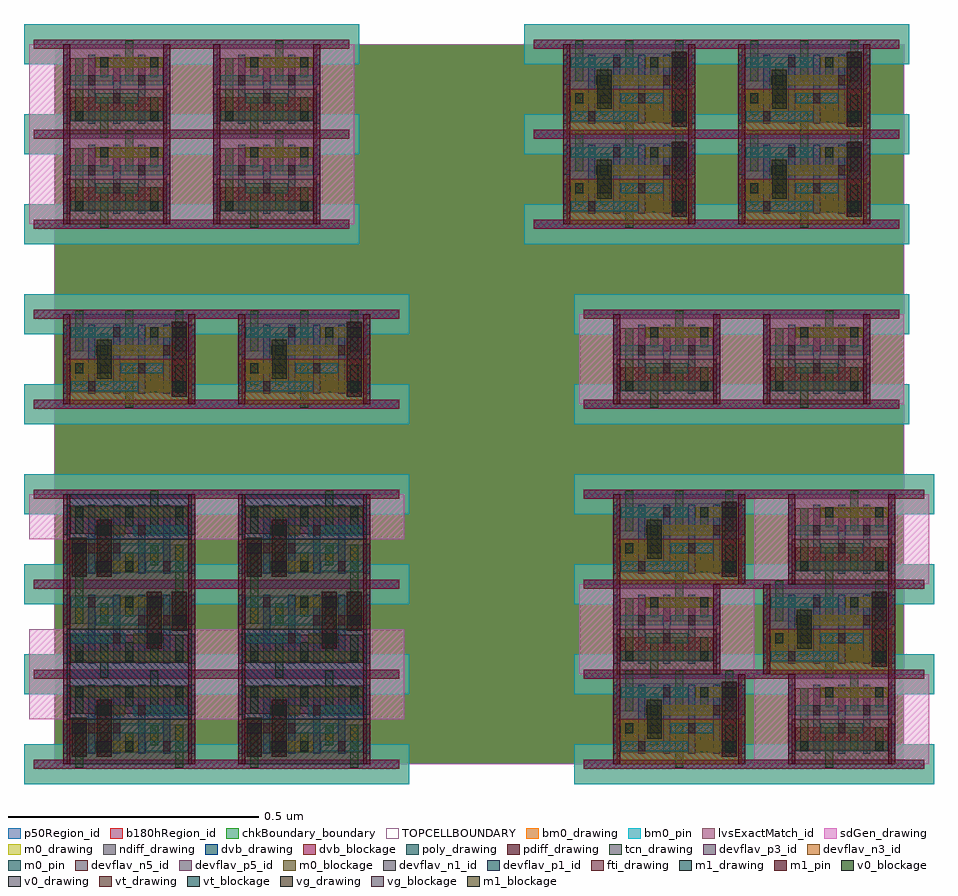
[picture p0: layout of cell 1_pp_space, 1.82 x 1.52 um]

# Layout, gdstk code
from math import pi, radians
import gdstk
lib = gdstk.Library(unit=1e-6, precision=5e-10)
def R(c, l, rs):  # rectangles x0, y0, x1, y1
    for r in rs: c.add(gdstk.rectangle(r[:2], r[2:], *l))
def A(c, l, x, y, w, h, nx, ny, dx, dy):  # array of equal rectangles
    R(c, l, [(x+i*dx, y+j*dy, x+i*dx+w, y+j*dy+h) for i in range(nx) for j in range(ny)])
ndiff_drawing = (1, 0)
poly_drawing = (2, 0)
m1_drawing = (4, 0)
m1_blockage = (4, 1)
m1_pin = (4, 2)
tcn_drawing = (5, 0)
pdiff_drawing = (8, 0)
sdGen_drawing = (11, 0)
vt_drawing = (31, 0)
vt_blockage = (31, 1)
vg_drawing = (32, 0)
vg_blockage = (32, 1)
chkBoundary_boundary = (50, 0)
TOPCELLBOUNDARY = (50, 99)
m0_drawing = (55, 0)
m0_blockage = (55, 1)
m0_pin = (55, 2)
v0_drawing = (56, 0)
v0_blockage = (56, 1)
lvsExactMatch_id = (81, 434)
b180hRegion_id = (82, 137)
p50Region_id = (82, 420)
fti_drawing = (184, 0)
devflav_n1_id = (273, 102)
devflav_p1_id = (273, 103)
devflav_n3_id = (273, 106)
devflav_p3_id = (273, 107)
devflav_n5_id = (273, 170)
devflav_p5_id = (273, 171)
bm0_drawing = (366, 0)
bm0_pin = (366, 2)
dvb_drawing = (474, 0)
dvb_blockage = (474, 1)

full_sdgen_cell = lib.new_cell('full_sdgen_cell')
A(full_sdgen_cell, poly_drawing, 0.043, 0.021, 0.014, 0.138, 3, 1, 0.05, 0)
R(full_sdgen_cell, poly_drawing, [(-0.007,0.021,0.007,0.081), (0.193,0.021,0.207,0.081), (-0.007,0.099,0.007,0.159), (0.193,0.099,0.207,0.159)])
R(full_sdgen_cell, tcn_drawing, [(0.067,-0.007,0.083,0.074), (0.017,0.026,0.033,0.152), (0.167,0.026,0.183,0.074), (0.117,0.028,0.133,0.068), (0.117,0.106,0.133,0.187), (0.067,0.114,0.083,0.154), (0.167,0.114,0.183,0.154)])
R(full_sdgen_cell, pdiff_drawing, [(0.007,0.028,0.193,0.074), (0.007,0.106,0.193,0.152)])
R(full_sdgen_cell, sdGen_drawing, [(-0.075,0,0.275,0.18)])
R(full_sdgen_cell, vt_drawing, [(0.017,0.026,0.033,0.046), (0.167,0.026,0.183,0.046), (0.067,0.134,0.083,0.154), (0.167,0.134,0.183,0.154)])
R(full_sdgen_cell, vt_blockage, [(0.017,0.026,0.033,0.046), (0.167,0.026,0.183,0.046), (0.067,0.134,0.083,0.154), (0.167,0.134,0.183,0.154)])
R(full_sdgen_cell, vg_drawing, [(0.093,0.062,0.107,0.082), (0.043,0.098,0.057,0.118), (0.143,0.098,0.157,0.118)])
R(full_sdgen_cell, vg_blockage, [(0.093,0.062,0.107,0.082), (0.043,0.098,0.057,0.118), (0.143,0.098,0.157,0.118)])
R(full_sdgen_cell, chkBoundary_boundary, [(0,0,0.2,0.18)])
R(full_sdgen_cell, m0_drawing, [(0.008,0.026,0.192,0.046), (0.058,0.062,0.142,0.082), (0.008,0.098,0.092,0.118), (0.108,0.098,0.192,0.118), (0.058,0.134,0.192,0.154)])
R(full_sdgen_cell, m0_blockage, [(0.058,0.134,0.192,0.154)])
R(full_sdgen_cell, m0_pin, [(0.008,0.026,0.192,0.046), (0.058,0.062,0.142,0.082), (0.008,0.098,0.092,0.118), (0.108,0.098,0.192,0.118)])
R(full_sdgen_cell, lvsExactMatch_id, [(0,0,0.2,0.18)])
R(full_sdgen_cell, b180hRegion_id, [(-0.025,0,0.225,0.18)])
R(full_sdgen_cell, p50Region_id, [(-0.025,0,0.225,0.18)])
R(full_sdgen_cell, fti_drawing, [(-0.007,0,0.007,0.18), (0.193,0,0.207,0.18)])
R(full_sdgen_cell, devflav_n5_id, [(0,0,0.2,0.09)])
R(full_sdgen_cell, devflav_p5_id, [(0,0.09,0.2,0.18)])
R(full_sdgen_cell, bm0_drawing, [(-0.085,-0.04,0.285,0.04), (-0.085,0.14,0.285,0.22)])
R(full_sdgen_cell, bm0_pin, [(-0.085,-0.04,0.285,0.04), (-0.085,0.14,0.285,0.22)])
R(full_sdgen_cell, dvb_drawing, [(-0.0655,-0.009,0.2655,0.009), (-0.0655,0.171,0.2655,0.189)])
R(full_sdgen_cell, dvb_blockage, [(-0.0655,-0.009,0.2655,0.009), (-0.0655,0.171,0.2655,0.189)])
full_sdgen_cell.add(gdstk.Label('c', (0.093,0.021), layer=2, texttype=0))
full_sdgen_cell.add(gdstk.Label('b', (0.143,0.021), layer=2, texttype=0))
full_sdgen_cell.add(gdstk.Label('a', (0.043,0.021), layer=2, texttype=0))
full_sdgen_cell.add(gdstk.Label('c', (0.1,0.09), layer=2, texttype=0))
full_sdgen_cell.add(gdstk.Label('b', (0.15,0.09), layer=2, texttype=0))
full_sdgen_cell.add(gdstk.Label('a', (0.05,0.09), layer=2, texttype=0))
full_sdgen_cell.add(gdstk.Label('c', (0.093,0.021), layer=2, texttype=2))
full_sdgen_cell.add(gdstk.Label('b', (0.143,0.021), layer=2, texttype=2))
full_sdgen_cell.add(gdstk.Label('a', (0.043,0.021), layer=2, texttype=2))
full_sdgen_cell.add(gdstk.Label('o1', (0.167,0.026), layer=5, texttype=0))
full_sdgen_cell.add(gdstk.Label('vssx', (0.067,-0.007), layer=5, texttype=0))
full_sdgen_cell.add(gdstk.Label('o1', (0.017,0.026), layer=5, texttype=0))
full_sdgen_cell.add(gdstk.Label('n1', (0.067,0.114), layer=5, texttype=0))
full_sdgen_cell.add(gdstk.Label('n1', (0.167,0.114), layer=5, texttype=0))
full_sdgen_cell.add(gdstk.Label('vcc', (0.117,0.106), layer=5, texttype=0))
full_sdgen_cell.add(gdstk.Label('n2', (0.117,0.028), layer=5, texttype=0))
full_sdgen_cell.add(gdstk.Label('o1', (0.175,0.05), layer=5, texttype=0))
full_sdgen_cell.add(gdstk.Label('vssx', (0.075,0.0335), layer=5, texttype=0))
full_sdgen_cell.add(gdstk.Label('o1', (0.025,0.089), layer=5, texttype=0))
full_sdgen_cell.add(gdstk.Label('n1', (0.075,0.134), layer=5, texttype=0))
full_sdgen_cell.add(gdstk.Label('n1', (0.175,0.134), layer=5, texttype=0))
full_sdgen_cell.add(gdstk.Label('vcc', (0.125,0.1465), layer=5, texttype=0))
full_sdgen_cell.add(gdstk.Label('n2', (0.125,0.048), layer=5, texttype=0))
full_sdgen_cell.add(gdstk.Label('o1', (0.167,0.026), layer=5, texttype=2))
full_sdgen_cell.add(gdstk.Label('vssx', (0.067,-0.007), layer=5, texttype=2))
full_sdgen_cell.add(gdstk.Label('o1', (0.017,0.026), layer=5, texttype=2))
full_sdgen_cell.add(gdstk.Label('n1', (0.067,0.114), layer=5, texttype=2))
full_sdgen_cell.add(gdstk.Label('n1', (0.167,0.114), layer=5, texttype=2))
full_sdgen_cell.add(gdstk.Label('vcc', (0.117,0.106), layer=5, texttype=2))
full_sdgen_cell.add(gdstk.Label('n2', (0.117,0.028), layer=5, texttype=2))
full_sdgen_cell.add(gdstk.Label('a', (0.05,0.108), layer=55, texttype=0))
full_sdgen_cell.add(gdstk.Label('a', (0.008,0.098), layer=55, texttype=0))
full_sdgen_cell.add(gdstk.Label('o1', (0.008,0.026), layer=55, texttype=0))
full_sdgen_cell.add(gdstk.Label('n1', (0.058,0.134), layer=55, texttype=0))
full_sdgen_cell.add(gdstk.Label('a', (0.008,0.098), layer=55, texttype=0))
full_sdgen_cell.add(gdstk.Label('b', (0.108,0.098), layer=55, texttype=0))
full_sdgen_cell.add(gdstk.Label('c', (0.058,0.062), layer=55, texttype=0))
full_sdgen_cell.add(gdstk.Label('b', (0.15,0.108), layer=55, texttype=0))
full_sdgen_cell.add(gdstk.Label('c', (0.1,0.072), layer=55, texttype=0))
full_sdgen_cell.add(gdstk.Label('o1', (0.1,0.036), layer=55, texttype=0))
full_sdgen_cell.add(gdstk.Label('c', (0.058,0.062), layer=55, texttype=0))
full_sdgen_cell.add(gdstk.Label('o1', (0.008,0.026), layer=55, texttype=0))
full_sdgen_cell.add(gdstk.Label('b', (0.108,0.098), layer=55, texttype=0))
full_sdgen_cell.add(gdstk.Label('a', (0.05,0.108), layer=55, texttype=0))
full_sdgen_cell.add(gdstk.Label('o1', (0.1,0.036), layer=55, texttype=0))
full_sdgen_cell.add(gdstk.Label('c', (0.1,0.072), layer=55, texttype=0))
full_sdgen_cell.add(gdstk.Label('n1', (0.125,0.144), layer=55, texttype=0))
full_sdgen_cell.add(gdstk.Label('b', (0.15,0.108), layer=55, texttype=0))
full_sdgen_cell.add(gdstk.Label('a', (0.05,0.108), layer=55, texttype=2))
full_sdgen_cell.add(gdstk.Label('a', (0.008,0.098), layer=55, texttype=2))
full_sdgen_cell.add(gdstk.Label('o1', (0.008,0.026), layer=55, texttype=2))
full_sdgen_cell.add(gdstk.Label('n1', (0.058,0.134), layer=55, texttype=2))
full_sdgen_cell.add(gdstk.Label('a', (0.008,0.098), layer=55, texttype=2))
full_sdgen_cell.add(gdstk.Label('b', (0.108,0.098), layer=55, texttype=2))
full_sdgen_cell.add(gdstk.Label('c', (0.058,0.062), layer=55, texttype=2))
full_sdgen_cell.add(gdstk.Label('b', (0.15,0.108), layer=55, texttype=2))
full_sdgen_cell.add(gdstk.Label('c', (0.1,0.072), layer=55, texttype=2))
full_sdgen_cell.add(gdstk.Label('o1', (0.1,0.036), layer=55, texttype=2))
full_sdgen_cell.add(gdstk.Label('c', (0.058,0.062), layer=55, texttype=2))
full_sdgen_cell.add(gdstk.Label('o1', (0.008,0.026), layer=55, texttype=2))
full_sdgen_cell.add(gdstk.Label('b', (0.108,0.098), layer=55, texttype=2))
full_sdgen_cell.add(gdstk.Label('vcc', (0.1,0.18), layer=366, texttype=0))
full_sdgen_cell.add(gdstk.Label('vssx', (0.1,0), layer=366, texttype=0))
full_sdgen_cell.add(gdstk.Label('vcc', (-0.085,0.14), layer=366, texttype=0))
full_sdgen_cell.add(gdstk.Label('vssx', (0.1,0), layer=366, texttype=0))
full_sdgen_cell.add(gdstk.Label('vssx', (-0.085,-0.04), layer=366, texttype=0))
full_sdgen_cell.add(gdstk.Label('vcc', (0.1,0.18), layer=366, texttype=0))
full_sdgen_cell.add(gdstk.Label('vcc', (-0.085,0.14), layer=366, texttype=0))
full_sdgen_cell.add(gdstk.Label('vssx', (-0.085,-0.04), layer=366, texttype=0))
full_sdgen_cell.add(gdstk.Label('vcc', (-0.085,0.14), layer=366, texttype=2))
full_sdgen_cell.add(gdstk.Label('vssx', (0.1,0), layer=366, texttype=2))
full_sdgen_cell.add(gdstk.Label('vssx', (-0.085,-0.04), layer=366, texttype=2))
full_sdgen_cell.add(gdstk.Label('vcc', (0.1,0.18), layer=366, texttype=2))
full_sdgen_cell.add(gdstk.Label('vcc', (-0.085,0.14), layer=366, texttype=2))
full_sdgen_cell.add(gdstk.Label('vssx', (-0.085,-0.04), layer=366, texttype=2))

no_sdgen_cell_1 = lib.new_cell('no_sdgen_cell_1')
R(no_sdgen_cell_1, ndiff_drawing, [(0.007,0.023,0.243,0.079), (0.007,0.106,0.243,0.162)])
A(no_sdgen_cell_1, poly_drawing, 0.043, 0.021, 0.014, 0.138, 4, 1, 0.05, 0)
R(no_sdgen_cell_1, poly_drawing, [(-0.007,0.021,0.007,0.081), (0.243,0.021,0.257,0.081), (-0.007,0.099,0.007,0.159), (0.243,0.099,0.257,0.159)])
R(no_sdgen_cell_1, m1_drawing, [(0.21,0.015,0.24,0.165), (0.06,0.051,0.09,0.129)])
R(no_sdgen_cell_1, m1_blockage, [(0.06,0.051,0.09,0.129)])
R(no_sdgen_cell_1, m1_pin, [(0.21,0.015,0.24,0.165)])
A(no_sdgen_cell_1, tcn_drawing, 0.017, 0.106, 0.016, 0.081, 3, 1, 0.1, 0)
R(no_sdgen_cell_1, tcn_drawing, [(0.117,-0.007,0.133,0.079), (0.217,0.023,0.233,0.079), (0.167,0.024,0.183,0.064), (0.017,0.038,0.033,0.082), (0.067,0.038,0.083,0.078), (0.067,0.098,0.083,0.142), (0.167,0.114,0.183,0.154)])
R(no_sdgen_cell_1, vt_drawing, [(0.217,0.026,0.233,0.046), (0.017,0.062,0.033,0.082), (0.067,0.098,0.083,0.118), (0.167,0.134,0.183,0.154)])
R(no_sdgen_cell_1, vt_blockage, [(0.217,0.026,0.233,0.046), (0.017,0.062,0.033,0.082), (0.067,0.098,0.083,0.118), (0.167,0.134,0.183,0.154)])
R(no_sdgen_cell_1, vg_drawing, [(0.043,0.026,0.057,0.046), (0.143,0.062,0.157,0.082), (0.193,0.098,0.207,0.118), (0.093,0.134,0.107,0.154)])
R(no_sdgen_cell_1, vg_blockage, [(0.043,0.026,0.057,0.046), (0.143,0.062,0.157,0.082), (0.193,0.098,0.207,0.118), (0.093,0.134,0.107,0.154)])
R(no_sdgen_cell_1, chkBoundary_boundary, [(0,0,0.25,0.18)])
R(no_sdgen_cell_1, m0_drawing, [(0.008,0.026,0.142,0.046), (0.158,0.026,0.242,0.046), (0.008,0.062,0.092,0.082), (0.108,0.062,0.192,0.082), (0.058,0.098,0.217,0.118), (0.008,0.134,0.142,0.154), (0.158,0.134,0.242,0.154)])
R(no_sdgen_cell_1, m0_blockage, [(0.158,0.026,0.242,0.046), (0.008,0.062,0.092,0.082), (0.058,0.098,0.217,0.118), (0.158,0.134,0.242,0.154)])
R(no_sdgen_cell_1, m0_pin, [(0.008,0.026,0.142,0.046), (0.108,0.062,0.192,0.082), (0.008,0.134,0.142,0.154)])
R(no_sdgen_cell_1, v0_drawing, [(0.21,0.026,0.24,0.046), (0.06,0.062,0.09,0.118), (0.21,0.134,0.24,0.154)])
R(no_sdgen_cell_1, v0_blockage, [(0.21,0.026,0.24,0.046), (0.06,0.062,0.09,0.118), (0.21,0.134,0.24,0.154)])
R(no_sdgen_cell_1, lvsExactMatch_id, [(0,0,0.25,0.18)])
R(no_sdgen_cell_1, b180hRegion_id, [(-0.025,0,0.275,0.18)])
R(no_sdgen_cell_1, p50Region_id, [(-0.025,0,0.275,0.18)])
R(no_sdgen_cell_1, fti_drawing, [(-0.007,0,0.007,0.18), (0.243,0,0.257,0.18)])
R(no_sdgen_cell_1, devflav_n3_id, [(0,0,0.25,0.09)])
R(no_sdgen_cell_1, devflav_p3_id, [(0,0.09,0.25,0.18)])
R(no_sdgen_cell_1, bm0_drawing, [(-0.085,-0.04,0.335,0.04), (-0.085,0.14,0.335,0.22)])
R(no_sdgen_cell_1, bm0_pin, [(-0.085,-0.04,0.335,0.04), (-0.085,0.14,0.335,0.22)])
R(no_sdgen_cell_1, dvb_drawing, [(-0.0655,-0.009,0.3155,0.009), (-0.0655,0.171,0.3155,0.189)])
R(no_sdgen_cell_1, dvb_blockage, [(-0.0655,-0.009,0.3155,0.009), (-0.0655,0.171,0.3155,0.189)])
no_sdgen_cell_1.add(gdstk.Label('b', (0.043,0.021), layer=2, texttype=0))
no_sdgen_cell_1.add(gdstk.Label('n1', (0.193,0.021), layer=2, texttype=0))
no_sdgen_cell_1.add(gdstk.Label('a', (0.143,0.021), layer=2, texttype=0))
no_sdgen_cell_1.add(gdstk.Label('c', (0.093,0.021), layer=2, texttype=0))
no_sdgen_cell_1.add(gdstk.Label('c', (0.1,0.09), layer=2, texttype=0))
no_sdgen_cell_1.add(gdstk.Label('a', (0.15,0.09), layer=2, texttype=0))
no_sdgen_cell_1.add(gdstk.Label('n1', (0.2,0.09), layer=2, texttype=0))
no_sdgen_cell_1.add(gdstk.Label('b', (0.05,0.09), layer=2, texttype=0))
no_sdgen_cell_1.add(gdstk.Label('vssx', (-0.085,-0.04), layer=366, texttype=2))
no_sdgen_cell_1.add(gdstk.Label('vcc', (0.125,0.18), layer=366, texttype=2))
no_sdgen_cell_1.add(gdstk.Label('vssx', (0.125,0), layer=366, texttype=2))
no_sdgen_cell_1.add(gdstk.Label('vssx', (-0.085,-0.04), layer=366, texttype=2))
no_sdgen_cell_1.add(gdstk.Label('vcc', (-0.085,0.14), layer=366, texttype=2))
no_sdgen_cell_1.add(gdstk.Label('vcc', (-0.085,0.14), layer=366, texttype=2))
no_sdgen_cell_1.add(gdstk.Label('vcc', (0.125,0.18), layer=366, texttype=0))
no_sdgen_cell_1.add(gdstk.Label('vssx', (0.125,0), layer=366, texttype=0))
no_sdgen_cell_1.add(gdstk.Label('vssx', (-0.085,-0.04), layer=366, texttype=0))
no_sdgen_cell_1.add(gdstk.Label('vcc', (0.125,0.18), layer=366, texttype=0))
no_sdgen_cell_1.add(gdstk.Label('vssx', (0.125,0), layer=366, texttype=0))
no_sdgen_cell_1.add(gdstk.Label('vssx', (-0.085,-0.04), layer=366, texttype=0))
no_sdgen_cell_1.add(gdstk.Label('vcc', (-0.085,0.14), layer=366, texttype=0))
no_sdgen_cell_1.add(gdstk.Label('vcc', (-0.085,0.14), layer=366, texttype=0))
no_sdgen_cell_1.add(gdstk.Label('a', (0.15,0.072), layer=55, texttype=2))
no_sdgen_cell_1.add(gdstk.Label('b', (0.075,0.036), layer=55, texttype=2))
no_sdgen_cell_1.add(gdstk.Label('c', (0.075,0.144), layer=55, texttype=2))
no_sdgen_cell_1.add(gdstk.Label('a', (0.108,0.062), layer=55, texttype=2))
no_sdgen_cell_1.add(gdstk.Label('c', (0.008,0.134), layer=55, texttype=2))
no_sdgen_cell_1.add(gdstk.Label('b', (0.008,0.026), layer=55, texttype=2))
no_sdgen_cell_1.add(gdstk.Label('b', (0.008,0.026), layer=55, texttype=2))
no_sdgen_cell_1.add(gdstk.Label('out0', (0.158,0.026), layer=55, texttype=2))
no_sdgen_cell_1.add(gdstk.Label('n1', (0.058,0.098), layer=55, texttype=2))
no_sdgen_cell_1.add(gdstk.Label('n1', (0.008,0.062), layer=55, texttype=2))
no_sdgen_cell_1.add(gdstk.Label('out0', (0.158,0.134), layer=55, texttype=2))
no_sdgen_cell_1.add(gdstk.Label('c', (0.008,0.134), layer=55, texttype=2))
no_sdgen_cell_1.add(gdstk.Label('a', (0.108,0.062), layer=55, texttype=2))
no_sdgen_cell_1.add(gdstk.Label('a', (0.15,0.072), layer=55, texttype=0))
no_sdgen_cell_1.add(gdstk.Label('b', (0.075,0.036), layer=55, texttype=0))
no_sdgen_cell_1.add(gdstk.Label('c', (0.075,0.144), layer=55, texttype=0))
no_sdgen_cell_1.add(gdstk.Label('a', (0.108,0.062), layer=55, texttype=0))
no_sdgen_cell_1.add(gdstk.Label('c', (0.008,0.134), layer=55, texttype=0))
no_sdgen_cell_1.add(gdstk.Label('b', (0.008,0.026), layer=55, texttype=0))
no_sdgen_cell_1.add(gdstk.Label('b', (0.008,0.026), layer=55, texttype=0))
no_sdgen_cell_1.add(gdstk.Label('out0', (0.158,0.026), layer=55, texttype=0))
no_sdgen_cell_1.add(gdstk.Label('n1', (0.058,0.098), layer=55, texttype=0))
no_sdgen_cell_1.add(gdstk.Label('n1', (0.008,0.062), layer=55, texttype=0))
no_sdgen_cell_1.add(gdstk.Label('out0', (0.158,0.134), layer=55, texttype=0))
no_sdgen_cell_1.add(gdstk.Label('c', (0.008,0.134), layer=55, texttype=0))
no_sdgen_cell_1.add(gdstk.Label('a', (0.108,0.062), layer=55, texttype=0))
no_sdgen_cell_1.add(gdstk.Label('n1', (0.1375,0.108), layer=55, texttype=0))
no_sdgen_cell_1.add(gdstk.Label('out0', (0.2,0.036), layer=55, texttype=0))
no_sdgen_cell_1.add(gdstk.Label('n1', (0.05,0.072), layer=55, texttype=0))
no_sdgen_cell_1.add(gdstk.Label('out0', (0.2,0.144), layer=55, texttype=0))
no_sdgen_cell_1.add(gdstk.Label('c', (0.075,0.144), layer=55, texttype=0))
no_sdgen_cell_1.add(gdstk.Label('b', (0.075,0.036), layer=55, texttype=0))
no_sdgen_cell_1.add(gdstk.Label('a', (0.15,0.072), layer=55, texttype=0))
no_sdgen_cell_1.add(gdstk.Label('vcc', (0.017,0.106), layer=5, texttype=2))
no_sdgen_cell_1.add(gdstk.Label('g0|n1', (0.067,0.038), layer=5, texttype=2))
no_sdgen_cell_1.add(gdstk.Label('vcc', (0.117,0.106), layer=5, texttype=2))
no_sdgen_cell_1.add(gdstk.Label('g1|n1', (0.167,0.024), layer=5, texttype=2))
no_sdgen_cell_1.add(gdstk.Label('out0', (0.217,0.023), layer=5, texttype=2))
no_sdgen_cell_1.add(gdstk.Label('vcc', (0.217,0.106), layer=5, texttype=2))
no_sdgen_cell_1.add(gdstk.Label('out0', (0.167,0.114), layer=5, texttype=2))
no_sdgen_cell_1.add(gdstk.Label('n1', (0.067,0.098), layer=5, texttype=2))
no_sdgen_cell_1.add(gdstk.Label('n1', (0.017,0.038), layer=5, texttype=2))
no_sdgen_cell_1.add(gdstk.Label('vssx', (0.117,-0.007), layer=5, texttype=2))
no_sdgen_cell_1.add(gdstk.Label('vssx', (0.125,0.036), layer=5, texttype=0))
no_sdgen_cell_1.add(gdstk.Label('n1', (0.025,0.06), layer=5, texttype=0))
no_sdgen_cell_1.add(gdstk.Label('n1', (0.075,0.12), layer=5, texttype=0))
no_sdgen_cell_1.add(gdstk.Label('out0', (0.175,0.134), layer=5, texttype=0))
no_sdgen_cell_1.add(gdstk.Label('vcc', (0.225,0.1465), layer=5, texttype=0))
no_sdgen_cell_1.add(gdstk.Label('out0', (0.225,0.051), layer=5, texttype=0))
no_sdgen_cell_1.add(gdstk.Label('g1|n1', (0.175,0.044), layer=5, texttype=0))
no_sdgen_cell_1.add(gdstk.Label('vcc', (0.125,0.1465), layer=5, texttype=0))
no_sdgen_cell_1.add(gdstk.Label('g0|n1', (0.075,0.058), layer=5, texttype=0))
no_sdgen_cell_1.add(gdstk.Label('vcc', (0.025,0.1465), layer=5, texttype=0))
no_sdgen_cell_1.add(gdstk.Label('vcc', (0.017,0.106), layer=5, texttype=0))
no_sdgen_cell_1.add(gdstk.Label('g0|n1', (0.067,0.038), layer=5, texttype=0))
no_sdgen_cell_1.add(gdstk.Label('vcc', (0.117,0.106), layer=5, texttype=0))
no_sdgen_cell_1.add(gdstk.Label('g1|n1', (0.167,0.024), layer=5, texttype=0))
no_sdgen_cell_1.add(gdstk.Label('out0', (0.217,0.023), layer=5, texttype=0))
no_sdgen_cell_1.add(gdstk.Label('vcc', (0.217,0.106), layer=5, texttype=0))
no_sdgen_cell_1.add(gdstk.Label('out0', (0.167,0.114), layer=5, texttype=0))
no_sdgen_cell_1.add(gdstk.Label('n1', (0.067,0.098), layer=5, texttype=0))
no_sdgen_cell_1.add(gdstk.Label('n1', (0.017,0.038), layer=5, texttype=0))
no_sdgen_cell_1.add(gdstk.Label('vssx', (0.117,-0.007), layer=5, texttype=0))
no_sdgen_cell_1.add(gdstk.Label('out0', (0.225,0.09), layer=4, texttype=2))
no_sdgen_cell_1.add(gdstk.Label('n1', (0.06,0.051), layer=4, texttype=2))
no_sdgen_cell_1.add(gdstk.Label('out0', (0.21,0.015), layer=4, texttype=2))
no_sdgen_cell_1.add(gdstk.Label('out0', (0.21,0.015), layer=4, texttype=2))
no_sdgen_cell_1.add(gdstk.Label('out0', (0.225,0.09), layer=4, texttype=0))
no_sdgen_cell_1.add(gdstk.Label('n1', (0.06,0.051), layer=4, texttype=0))
no_sdgen_cell_1.add(gdstk.Label('out0', (0.21,0.015), layer=4, texttype=0))
no_sdgen_cell_1.add(gdstk.Label('out0', (0.21,0.015), layer=4, texttype=0))
no_sdgen_cell_1.add(gdstk.Label('out0', (0.225,0.09), layer=4, texttype=0))
no_sdgen_cell_1.add(gdstk.Label('n1', (0.075,0.09), layer=4, texttype=0))
no_sdgen_cell_1.add(gdstk.Label('b', (0.043,0.021), layer=2, texttype=2))
no_sdgen_cell_1.add(gdstk.Label('n1', (0.193,0.021), layer=2, texttype=2))
no_sdgen_cell_1.add(gdstk.Label('a', (0.143,0.021), layer=2, texttype=2))
no_sdgen_cell_1.add(gdstk.Label('c', (0.093,0.021), layer=2, texttype=2))

ibmaoi022ab1n03x5 = lib.new_cell('ibmaoi022ab1n03x5')
R(ibmaoi022ab1n03x5, ndiff_drawing, [(0.007,0.023,0.243,0.079)])
A(ibmaoi022ab1n03x5, poly_drawing, 0.043, 0.021, 0.014, 0.138, 4, 1, 0.05, 0)
R(ibmaoi022ab1n03x5, poly_drawing, [(-0.007,0.021,0.007,0.081), (0.243,0.021,0.257,0.081), (-0.007,0.099,0.007,0.159), (0.243,0.099,0.257,0.159)])
R(ibmaoi022ab1n03x5, m1_drawing, [(0.01,0.015,0.04,0.093), (0.06,0.015,0.09,0.129)])
R(ibmaoi022ab1n03x5, m1_pin, [(0.01,0.015,0.04,0.093), (0.06,0.015,0.09,0.129)])
R(ibmaoi022ab1n03x5, tcn_drawing, [(0.017,-0.007,0.033,0.079), (0.217,-0.007,0.233,0.079), (0.117,0.023,0.133,0.064), (0.067,0.024,0.083,0.064), (0.167,0.038,0.183,0.078), (0.067,0.098,0.083,0.157), (0.017,0.101,0.033,0.157), (0.167,0.101,0.183,0.187), (0.217,0.101,0.233,0.157), (0.117,0.116,0.133,0.157)])
R(ibmaoi022ab1n03x5, pdiff_drawing, [(0.007,0.101,0.243,0.157)])
R(ibmaoi022ab1n03x5, sdGen_drawing, [(-0.075,0.09,0.325,0.18)])
A(ibmaoi022ab1n03x5, vt_drawing, 0.017, 0.134, 0.016, 0.02, 3, 1, 0.1, 0)
R(ibmaoi022ab1n03x5, vt_drawing, [(0.117,0.026,0.133,0.046), (0.067,0.098,0.083,0.118)])
A(ibmaoi022ab1n03x5, vt_blockage, 0.017, 0.134, 0.016, 0.02, 3, 1, 0.1, 0)
R(ibmaoi022ab1n03x5, vt_blockage, [(0.117,0.026,0.133,0.046), (0.067,0.098,0.083,0.118)])
R(ibmaoi022ab1n03x5, vg_drawing, [(0.193,0.026,0.207,0.046), (0.043,0.062,0.057,0.082), (0.093,0.062,0.107,0.082), (0.143,0.098,0.157,0.118)])
R(ibmaoi022ab1n03x5, vg_blockage, [(0.193,0.026,0.207,0.046), (0.043,0.062,0.057,0.082), (0.093,0.062,0.107,0.082), (0.143,0.098,0.157,0.118)])
R(ibmaoi022ab1n03x5, chkBoundary_boundary, [(0,0,0.25,0.18)])
R(ibmaoi022ab1n03x5, m0_drawing, [(0.058,0.026,0.142,0.046), (0.158,0.026,0.242,0.046), (0.008,0.062,0.067,0.082), (0.083,0.062,0.192,0.082), (0.058,0.098,0.117,0.118), (0.133,0.098,0.242,0.118), (0.008,0.134,0.242,0.154)])
R(ibmaoi022ab1n03x5, m0_blockage, [(0.058,0.026,0.142,0.046), (0.008,0.062,0.067,0.082), (0.058,0.098,0.117,0.118), (0.008,0.134,0.242,0.154)])
R(ibmaoi022ab1n03x5, m0_pin, [(0.158,0.026,0.242,0.046), (0.083,0.062,0.192,0.082), (0.133,0.098,0.242,0.118)])
R(ibmaoi022ab1n03x5, v0_drawing, [(0.06,0.026,0.09,0.046), (0.01,0.062,0.04,0.082), (0.06,0.098,0.09,0.118)])
R(ibmaoi022ab1n03x5, v0_blockage, [(0.06,0.026,0.09,0.046), (0.01,0.062,0.04,0.082), (0.06,0.098,0.09,0.118)])
R(ibmaoi022ab1n03x5, lvsExactMatch_id, [(0,0,0.25,0.18)])
R(ibmaoi022ab1n03x5, b180hRegion_id, [(-0.025,0,0.275,0.18)])
R(ibmaoi022ab1n03x5, p50Region_id, [(-0.025,0,0.275,0.18)])
R(ibmaoi022ab1n03x5, fti_drawing, [(-0.007,0,0.007,0.18), (0.243,0,0.257,0.18)])
R(ibmaoi022ab1n03x5, devflav_n1_id, [(0,0,0.25,0.09)])
R(ibmaoi022ab1n03x5, devflav_p1_id, [(0,0.09,0.25,0.18)])
R(ibmaoi022ab1n03x5, bm0_drawing, [(-0.085,-0.04,0.335,0.04), (-0.085,0.14,0.335,0.22)])
R(ibmaoi022ab1n03x5, bm0_pin, [(-0.085,-0.04,0.335,0.04), (-0.085,0.14,0.335,0.22)])
R(ibmaoi022ab1n03x5, dvb_drawing, [(-0.0655,-0.009,0.3155,0.009), (-0.0655,0.171,0.3155,0.189)])
R(ibmaoi022ab1n03x5, dvb_blockage, [(-0.0655,-0.009,0.3155,0.009), (-0.0655,0.171,0.3155,0.189)])
ibmaoi022ab1n03x5.add(gdstk.Label('o1', (0.125,0.0435), layer=5, texttype=0))
ibmaoi022ab1n03x5.add(gdstk.Label('n3', (0.175,0.058), layer=5, texttype=0))
ibmaoi022ab1n03x5.add(gdstk.Label('n1', (0.125,0.1365), layer=5, texttype=0))
ibmaoi022ab1n03x5.add(gdstk.Label('o1', (0.075,0.1275), layer=5, texttype=0))
ibmaoi022ab1n03x5.add(gdstk.Label('vssx', (0.025,0.036), layer=5, texttype=0))
ibmaoi022ab1n03x5.add(gdstk.Label('n1', (0.225,0.129), layer=5, texttype=0))
ibmaoi022ab1n03x5.add(gdstk.Label('vssx', (0.225,0.036), layer=5, texttype=0))
ibmaoi022ab1n03x5.add(gdstk.Label('vcc', (0.175,0.144), layer=5, texttype=0))
ibmaoi022ab1n03x5.add(gdstk.Label('n2', (0.075,0.044), layer=5, texttype=0))
ibmaoi022ab1n03x5.add(gdstk.Label('n1', (0.025,0.129), layer=5, texttype=0))
ibmaoi022ab1n03x5.add(gdstk.Label('o1', (0.075,0.072), layer=4, texttype=2))
ibmaoi022ab1n03x5.add(gdstk.Label('b', (0.025,0.054), layer=4, texttype=2))
ibmaoi022ab1n03x5.add(gdstk.Label('o1', (0.075,0.072), layer=4, texttype=0))
ibmaoi022ab1n03x5.add(gdstk.Label('b', (0.025,0.054), layer=4, texttype=0))
ibmaoi022ab1n03x5.add(gdstk.Label('b', (0.025,0.054), layer=4, texttype=0))
ibmaoi022ab1n03x5.add(gdstk.Label('o1', (0.075,0.072), layer=4, texttype=0))
ibmaoi022ab1n03x5.add(gdstk.Label('a', (0.1,0.09), layer=2, texttype=0))
ibmaoi022ab1n03x5.add(gdstk.Label('c', (0.15,0.09), layer=2, texttype=0))
ibmaoi022ab1n03x5.add(gdstk.Label('d', (0.2,0.09), layer=2, texttype=0))
ibmaoi022ab1n03x5.add(gdstk.Label('b', (0.05,0.09), layer=2, texttype=0))
ibmaoi022ab1n03x5.add(gdstk.Label('a', (0.1375,0.072), layer=55, texttype=0))
ibmaoi022ab1n03x5.add(gdstk.Label('c', (0.1875,0.108), layer=55, texttype=0))
ibmaoi022ab1n03x5.add(gdstk.Label('d', (0.2,0.036), layer=55, texttype=0))
ibmaoi022ab1n03x5.add(gdstk.Label('n1', (0.125,0.144), layer=55, texttype=0))
ibmaoi022ab1n03x5.add(gdstk.Label('o1', (0.1,0.036), layer=55, texttype=0))
ibmaoi022ab1n03x5.add(gdstk.Label('a', (0.1375,0.072), layer=55, texttype=0))
ibmaoi022ab1n03x5.add(gdstk.Label('c', (0.1875,0.108), layer=55, texttype=0))
ibmaoi022ab1n03x5.add(gdstk.Label('d', (0.2,0.036), layer=55, texttype=0))
ibmaoi022ab1n03x5.add(gdstk.Label('b', (0.0375,0.072), layer=55, texttype=0))
ibmaoi022ab1n03x5.add(gdstk.Label('o1', (0.0875,0.108), layer=55, texttype=0))
ibmaoi022ab1n03x5.add(gdstk.Label('a', (0.1375,0.072), layer=55, texttype=2))
ibmaoi022ab1n03x5.add(gdstk.Label('c', (0.1875,0.108), layer=55, texttype=2))
ibmaoi022ab1n03x5.add(gdstk.Label('d', (0.2,0.036), layer=55, texttype=2))
ibmaoi022ab1n03x5.add(gdstk.Label('vcc', (0.125,0.18), layer=366, texttype=0))
ibmaoi022ab1n03x5.add(gdstk.Label('vssx', (0.125,0), layer=366, texttype=0))
ibmaoi022ab1n03x5.add(gdstk.Label('vcc', (0.125,0.18), layer=366, texttype=0))
ibmaoi022ab1n03x5.add(gdstk.Label('vssx', (0.125,0), layer=366, texttype=0))
ibmaoi022ab1n03x5.add(gdstk.Label('vcc', (0.125,0.18), layer=366, texttype=2))
ibmaoi022ab1n03x5.add(gdstk.Label('vssx', (0.125,0), layer=366, texttype=2))

c_1_pp_space = lib.new_cell('1_pp_space')
R(c_1_pp_space, chkBoundary_boundary, [(0,0,1.7,1.44)])
R(c_1_pp_space, TOPCELLBOUNDARY, [(0,0,1.7,1.44)])
R(c_1_pp_space, b180hRegion_id, [(0,0,1.7,1.44)])
R(c_1_pp_space, p50Region_id, [(0,0,1.7,1.44)])
c_1_pp_space.add(gdstk.Reference(full_sdgen_cell, (1.475,0)))
c_1_pp_space.add(gdstk.Reference(full_sdgen_cell, (1.125,0.18)))
c_1_pp_space.add(gdstk.Reference(full_sdgen_cell, (1.475,0.36)))
c_1_pp_space.add(gdstk.Reference(full_sdgen_cell, (1.125,0.72)))
c_1_pp_space.add(gdstk.Reference(full_sdgen_cell, (1.425,0.72)))
c_1_pp_space.add(gdstk.Reference(full_sdgen_cell, (0.325,1.08)))
c_1_pp_space.add(gdstk.Reference(full_sdgen_cell, (0.025,1.08)))
c_1_pp_space.add(gdstk.Reference(full_sdgen_cell, (0.325,1.26)))
c_1_pp_space.add(gdstk.Reference(full_sdgen_cell, (0.025,1.26)))
c_1_pp_space.add(gdstk.Reference(no_sdgen_cell_1, (1.125,0)))
c_1_pp_space.add(gdstk.Reference(no_sdgen_cell_1, (1.425,0.18)))
c_1_pp_space.add(gdstk.Reference(no_sdgen_cell_1, (1.125,0.36)))
c_1_pp_space.add(gdstk.Reference(no_sdgen_cell_1, (1.375,1.08)))
c_1_pp_space.add(gdstk.Reference(no_sdgen_cell_1, (1.375,1.26)))
c_1_pp_space.add(gdstk.Reference(no_sdgen_cell_1, (1.025,1.08)))
c_1_pp_space.add(gdstk.Reference(no_sdgen_cell_1, (1.025,1.26)))
c_1_pp_space.add(gdstk.Reference(no_sdgen_cell_1, (0.375,0.72)))
c_1_pp_space.add(gdstk.Reference(no_sdgen_cell_1, (0.025,0.72)))
c_1_pp_space.add(gdstk.Reference(ibmaoi022ab1n03x5, (0.375,0)))
c_1_pp_space.add(gdstk.Reference(ibmaoi022ab1n03x5, (0.025,0)))
c_1_pp_space.add(gdstk.Reference(ibmaoi022ab1n03x5, (0.625,0.36), rotation=pi))
c_1_pp_space.add(gdstk.Reference(ibmaoi022ab1n03x5, (0.275,0.36), rotation=pi))
c_1_pp_space.add(gdstk.Reference(ibmaoi022ab1n03x5, (0.375,0.36)))
c_1_pp_space.add(gdstk.Reference(ibmaoi022ab1n03x5, (0.025,0.36)))

lib.write_gds('1_pp_space.gds')
